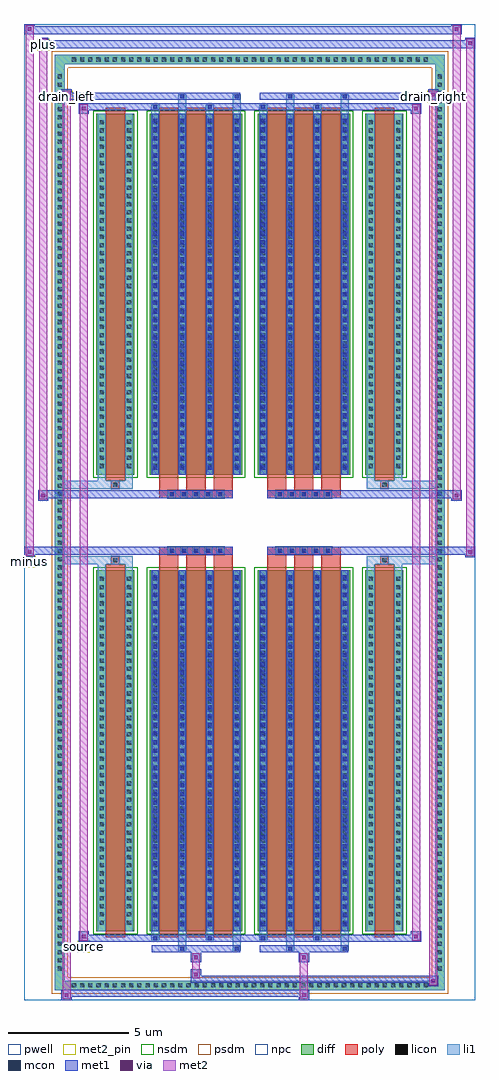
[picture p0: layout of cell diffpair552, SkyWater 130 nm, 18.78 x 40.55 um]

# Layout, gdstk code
import gdstk
lib = gdstk.Library(unit=1e-6, precision=5e-09)
def R(c, l, rs):  # rectangles x0, y0, x1, y1
    for r in rs: c.add(gdstk.rectangle(r[:2], r[2:], *l))
def A(c, l, x, y, w, h, nx, ny, dx, dy):  # array of equal rectangles
    R(c, l, [(x+i*dx, y+j*dy, x+i*dx+w, y+j*dy+h) for i in range(nx) for j in range(ny)])
def P(c, l, *ps):  # polygons
    for p in ps: c.add(gdstk.Polygon(p, *l))
pwell = (64, 44)
diff = (65, 20)
poly = (66, 20)
licon = (66, 44)
li1 = (67, 20)
mcon = (67, 44)
met1 = (68, 20)
via = (68, 44)
met2_pin = (69, 16)
met2 = (69, 20)
nsdm = (93, 44)
psdm = (94, 20)
npc = (95, 20)

diffpair552 = lib.new_cell('diffpair552')
R(diffpair552, pwell, [(-9.37,-19.84,9.37,20.71), (-6.69,-18.03,-0.01,-0.805), (0.01,-18.03,6.69,-0.805), (-6.69,0.805,-0.01,18.03), (0.01,0.805,6.69,18.03)])
A(diffpair552, diff, -7.515, -19.44, 0.41, 0.41, 44, 2, 0.34, 38.47)
A(diffpair552, diff, -8.1, -18.735, 0.41, 0.41, 1, 110, 0, 0.34)
A(diffpair552, diff, 7.69, -18.735, 0.41, 0.41, 1, 110, 0, 0.34)
R(diffpair552, diff, [(-7.515,-19.44,7.515,-19.03), (-8.1,-18.735,-7.69,18.735), (7.69,-18.735,8.1,18.735), (-6.38,-16.985,-4.8,-1.985), (-4.16,-16.985,-0.32,-1.985), (0.32,-16.985,4.16,-1.985), (4.8,-16.985,6.38,-1.985), (-6.38,1.985,-4.8,16.985), (-4.16,1.985,-0.32,16.985), (0.32,1.985,4.16,16.985), (4.8,1.985,6.38,16.985), (-7.515,19.03,7.515,19.44)])
P(diffpair552, diff, [(8.1,19.44),(-8.1,19.44),(-8.1,-19.03),(-7.69,-19.03),(-7.69,19.03),(7.69,19.03),(7.69,-19.03),(-7.69,-19.03),(-8.1,-19.03),(-8.1,-19.44),(8.1,-19.44)])
A(diffpair552, poly, -3.77, -17.235, 0.8, 15.5, 3, 2, 1.13, 18.97)
A(diffpair552, poly, 0.71, -17.235, 0.8, 15.5, 3, 2, 1.13, 18.97)
A(diffpair552, poly, -3.77, -1.735, 0.8, 0.4, 3, 2, 1.13, 3.07)
A(diffpair552, poly, 0.71, -1.735, 0.8, 0.4, 3, 2, 1.13, 3.07)
A(diffpair552, poly, -3.405, -1.335, 0.33, 0.33, 5, 2, 0.5, 2.34)
A(diffpair552, poly, 1.075, -1.335, 0.33, 0.33, 5, 2, 0.5, 2.34)
R(diffpair552, poly, [(-5.99,-17.235,-5.19,-1.735), (5.19,-17.235,5.99,-1.735), (-5.755,-1.735,-5.425,-1.405), (-5.755,-1.735,-5.425,-1.405), (5.425,-1.735,5.755,-1.405), (5.425,-1.735,5.755,-1.405), (-3.77,-1.335,-0.71,-1.005), (0.71,-1.335,3.77,-1.005), (-3.77,1.005,-0.71,1.335), (0.71,1.005,3.77,1.335), (-5.755,1.405,-5.425,1.735), (-5.755,1.405,-5.425,1.735), (5.425,1.405,5.755,1.735), (5.425,1.405,5.755,1.735), (-5.99,1.735,-5.19,17.235), (5.19,1.735,5.99,17.235)])
A(diffpair552, licon, -7.395, -19.32, 0.17, 0.17, 44, 2, 0.34, 38.47)
A(diffpair552, licon, -7.98, -18.615, 0.17, 0.17, 1, 110, 0, 0.34)
A(diffpair552, licon, 7.81, -18.615, 0.17, 0.17, 1, 110, 0, 0.34)
A(diffpair552, licon, -6.24, -16.71, 0.17, 0.17, 1, 43, 0, 0.34)
A(diffpair552, licon, -5.11, -16.71, 0.17, 0.17, 1, 43, 0, 0.34)
A(diffpair552, licon, -4.02, -16.71, 0.17, 0.17, 4, 43, 1.13, 0.34)
A(diffpair552, licon, 0.46, -16.71, 0.17, 0.17, 4, 43, 1.13, 0.34)
A(diffpair552, licon, 4.94, -16.71, 0.17, 0.17, 1, 43, 0, 0.34)
A(diffpair552, licon, 6.07, -16.71, 0.17, 0.17, 1, 43, 0, 0.34)
A(diffpair552, licon, -3.325, -1.255, 0.17, 0.17, 5, 2, 0.5, 2.34)
A(diffpair552, licon, 1.155, -1.255, 0.17, 0.17, 5, 2, 0.5, 2.34)
A(diffpair552, licon, -6.24, 2.26, 0.17, 0.17, 1, 43, 0, 0.34)
A(diffpair552, licon, -5.11, 2.26, 0.17, 0.17, 1, 43, 0, 0.34)
A(diffpair552, licon, -4.02, 2.26, 0.17, 0.17, 4, 43, 1.13, 0.34)
A(diffpair552, licon, 0.46, 2.26, 0.17, 0.17, 4, 43, 1.13, 0.34)
A(diffpair552, licon, 4.94, 2.26, 0.17, 0.17, 1, 43, 0, 0.34)
A(diffpair552, licon, 6.07, 2.26, 0.17, 0.17, 1, 43, 0, 0.34)
R(diffpair552, licon, [(-5.675,-1.655,-5.505,-1.485), (5.505,-1.655,5.675,-1.485), (-5.675,1.485,-5.505,1.655), (5.505,1.485,5.675,1.655)])
A(diffpair552, li1, -7.475, -19.4, 0.33, 0.33, 44, 2, 0.34, 38.47)
A(diffpair552, li1, -8.06, -18.695, 0.33, 0.33, 1, 110, 0, 0.34)
A(diffpair552, li1, 7.73, -18.695, 0.33, 0.33, 1, 110, 0, 0.34)
A(diffpair552, li1, -4.1, -16.985, 0.33, 15, 4, 2, 1.13, 18.97)
A(diffpair552, li1, 0.38, -16.985, 0.33, 15, 4, 2, 1.13, 18.97)
A(diffpair552, li1, -6.32, -16.79, 0.33, 0.33, 1, 43, 0, 0.34)
A(diffpair552, li1, -5.19, -16.79, 0.33, 0.33, 1, 43, 0, 0.34)
A(diffpair552, li1, -4.1, -16.79, 0.33, 0.33, 4, 43, 1.13, 0.34)
A(diffpair552, li1, 0.38, -16.79, 0.33, 0.33, 4, 43, 1.13, 0.34)
A(diffpair552, li1, 4.86, -16.79, 0.33, 0.33, 1, 43, 0, 0.34)
A(diffpair552, li1, 5.99, -16.79, 0.33, 0.33, 1, 43, 0, 0.34)
A(diffpair552, li1, -4.02, -16.77, 0.17, 0.17, 4, 41, 1.13, 0.36)
A(diffpair552, li1, -4.02, -16.77, 0.17, 14.57, 4, 2, 1.13, 18.97)
A(diffpair552, li1, 0.46, -16.77, 0.17, 0.17, 4, 41, 1.13, 0.36)
A(diffpair552, li1, 0.46, -16.77, 0.17, 14.57, 4, 2, 1.13, 18.97)
A(diffpair552, li1, -3.405, -1.335, 0.33, 0.33, 5, 2, 0.5, 2.34)
A(diffpair552, li1, 1.075, -1.335, 0.33, 0.33, 5, 2, 0.5, 2.34)
A(diffpair552, li1, -6.32, 2.18, 0.33, 0.33, 1, 43, 0, 0.34)
A(diffpair552, li1, -5.19, 2.18, 0.33, 0.33, 1, 43, 0, 0.34)
A(diffpair552, li1, -4.1, 2.18, 0.33, 0.33, 4, 43, 1.13, 0.34)
A(diffpair552, li1, 0.38, 2.18, 0.33, 0.33, 4, 43, 1.13, 0.34)
A(diffpair552, li1, 4.86, 2.18, 0.33, 0.33, 1, 43, 0, 0.34)
A(diffpair552, li1, 5.99, 2.18, 0.33, 0.33, 1, 43, 0, 0.34)
A(diffpair552, li1, -4.02, 2.2, 0.17, 0.17, 4, 41, 1.13, 0.36)
A(diffpair552, li1, 0.46, 2.2, 0.17, 0.17, 4, 41, 1.13, 0.36)
R(diffpair552, li1, [(-8.1,-19.44,-7.69,-19.03), (-8.1,-19.44,-7.69,-19.03), (-7.69,-19.44,7.69,-19.03), (7.69,-19.44,8.1,-19.03), (7.69,-19.44,8.1,-19.03), (-8.1,-19.03,-7.69,19.03), (7.69,-19.03,8.1,19.03), (-2.97,-17.79,-2.64,-16.985), (-2.89,-17.79,-2.72,-17.62), (-0.71,-17.79,-0.38,-16.985), (-0.63,-17.79,-0.46,-17.62), (1.51,-17.79,1.84,-16.985), (1.59,-17.79,1.76,-17.62), (3.77,-17.79,4.1,-16.985), (3.85,-17.79,4.02,-17.62), (-4.1,-17.36,-3.77,-16.985), (-4.02,-17.36,-3.85,-17.19), (-1.84,-17.36,-1.51,-16.985), (-1.76,-17.36,-1.59,-17.19), (0.38,-17.36,0.71,-16.985), (0.46,-17.36,0.63,-17.19), (2.64,-17.36,2.97,-16.985), (2.72,-17.36,2.89,-17.19), (-6.32,-16.985,-5.99,-1.985), (-5.19,-16.985,-4.86,-1.985), (4.86,-16.985,5.19,-1.985), (5.99,-16.985,6.32,-1.985), (-6.32,-1.985,-5.99,-1.405), (-5.19,-1.985,-4.86,-1.405), (4.86,-1.985,5.19,-1.405), (5.99,-1.985,6.32,-1.405), (-8.1,-1.735,-5.755,-1.405), (-6.32,-1.735,-5.755,-1.405), (-5.755,-1.735,-5.425,-1.405), (-5.425,-1.735,-4.86,-1.405), (4.86,-1.735,5.425,-1.405), (5.425,-1.735,5.755,-1.405), (5.425,-1.735,8.1,-1.405), (5.755,-1.735,6.32,-1.405), (-8.1,1.405,-5.755,1.735), (-6.32,1.405,-5.755,1.735), (-6.32,1.405,-5.99,1.985), (-5.755,1.405,-5.425,1.735), (-5.425,1.405,-4.86,1.735), (-5.19,1.405,-4.86,1.985), (4.86,1.405,5.425,1.735), (4.86,1.405,5.19,1.985), (5.425,1.405,5.755,1.735), (5.425,1.405,8.1,1.735), (5.755,1.405,6.32,1.735), (5.99,1.405,6.32,1.985), (-6.32,1.985,-5.99,16.985), (-5.19,1.985,-4.86,16.985), (4.86,1.985,5.19,16.985), (5.99,1.985,6.32,16.985), (-4.1,16.985,-3.77,17.36), (-2.97,16.985,-2.64,17.79), (-1.84,16.985,-1.51,17.36), (-0.71,16.985,-0.38,17.79), (0.38,16.985,0.71,17.36), (1.51,16.985,1.84,17.79), (2.64,16.985,2.97,17.36), (3.77,16.985,4.1,17.79), (-4.02,17.19,-3.85,17.36), (-1.76,17.19,-1.59,17.36), (0.46,17.19,0.63,17.36), (2.72,17.19,2.89,17.36), (-2.89,17.62,-2.72,17.79), (-0.63,17.62,-0.46,17.79), (1.59,17.62,1.76,17.79), (3.85,17.62,4.02,17.79), (-8.1,19.03,-7.69,19.44), (-8.1,19.03,-7.69,19.44), (-7.69,19.03,7.69,19.44), (7.69,19.03,8.1,19.44), (7.69,19.03,8.1,19.44)])
A(diffpair552, mcon, -4.02, -16.77, 0.17, 0.17, 4, 41, 1.13, 0.36)
A(diffpair552, mcon, 0.46, -16.77, 0.17, 0.17, 4, 41, 1.13, 0.36)
A(diffpair552, mcon, -3.325, -1.255, 0.17, 0.17, 5, 2, 0.5, 2.34)
A(diffpair552, mcon, 1.155, -1.255, 0.17, 0.17, 5, 2, 0.5, 2.34)
A(diffpair552, mcon, -4.02, 2.2, 0.17, 0.17, 4, 41, 1.13, 0.36)
A(diffpair552, mcon, 0.46, 2.2, 0.17, 0.17, 4, 41, 1.13, 0.36)
R(diffpair552, mcon, [(-2.89,-17.79,-2.72,-17.62), (-0.63,-17.79,-0.46,-17.62), (1.59,-17.79,1.76,-17.62), (3.85,-17.79,4.02,-17.62), (-4.02,-17.36,-3.85,-17.19), (-1.76,-17.36,-1.59,-17.19), (0.46,-17.36,0.63,-17.19), (2.72,-17.36,2.89,-17.19), (-4.02,17.19,-3.85,17.36), (-1.76,17.19,-1.59,17.36), (0.46,17.19,0.63,17.36), (2.72,17.19,2.89,17.36), (-2.89,17.62,-2.72,17.79), (-0.63,17.62,-0.46,17.79), (1.59,17.62,1.76,17.79), (3.85,17.62,4.02,17.79)])
A(diffpair552, met1, -4.08, -16.985, 0.29, 15, 4, 2, 1.13, 18.97)
A(diffpair552, met1, 0.4, -16.985, 0.29, 15, 4, 2, 1.13, 18.97)
A(diffpair552, met1, -4.08, -16.83, 0.29, 0.29, 4, 41, 1.13, 0.36)
A(diffpair552, met1, 0.4, -16.83, 0.29, 0.29, 4, 41, 1.13, 0.36)
A(diffpair552, met1, -3.385, -1.315, 0.29, 0.29, 5, 2, 0.5, 2.34)
A(diffpair552, met1, 1.095, -1.315, 0.29, 0.29, 5, 2, 0.5, 2.34)
A(diffpair552, met1, -4.08, 2.14, 0.29, 0.29, 4, 41, 1.13, 0.36)
A(diffpair552, met1, 0.4, 2.14, 0.29, 0.29, 4, 41, 1.13, 0.36)
R(diffpair552, met1, [(-7.83,-19.84,-7.4,-19.41), (2.025,-19.84,2.455,-19.41), (-7.83,-19.7,2.455,-19.41), (7.4,-19.27,7.83,-18.84), (-2.455,-19.13,7.83,-18.84), (-2.455,-18.99,-2.025,-18.56), (-2.455,-18.28,-2.025,-17.85), (2.025,-18.28,2.455,-17.85), (-4.08,-17.85,-0.4,-17.56), (-2.95,-17.85,-2.66,-17.56), (-0.69,-17.85,-0.4,-17.56), (0.4,-17.85,4.08,-17.56), (1.53,-17.85,1.82,-17.56), (3.79,-17.85,4.08,-17.56), (-7.12,-17.42,-6.69,-16.99), (-7.12,-17.42,-4.08,-17.13), (-4.08,-17.42,-3.79,-17.13), (-4.08,-17.42,-0.4,-17.13), (-1.82,-17.42,-1.53,-17.13), (-0.4,-17.42,0.4,-17.13), (0.4,-17.42,0.69,-17.13), (0.4,-17.42,4.08,-17.13), (2.66,-17.42,2.95,-17.13), (4.08,-17.42,7.12,-17.13), (6.69,-17.42,7.12,-16.99), (-9.37,-1.435,-8.94,-1.005), (8.94,-1.435,9.37,-1.005), (-9.37,-1.335,-0.71,-1.005), (-3.77,-1.335,-0.71,-1.005), (0.71,-1.335,3.77,-1.005), (0.71,-1.335,9.37,-1.005), (-8.8,0.905,-8.37,1.335), (8.37,0.905,8.8,1.335), (-8.8,1.005,-3.77,1.335), (-3.77,1.005,-0.71,1.335), (0.71,1.005,3.77,1.335), (3.77,1.005,8.8,1.335), (-7.12,16.99,-6.69,17.42), (6.69,16.99,7.12,17.42), (-7.12,17.13,-4.08,17.42), (-4.08,17.13,-3.79,17.42), (-4.08,17.13,-0.4,17.42), (-1.82,17.13,-1.53,17.42), (-0.4,17.13,0.4,17.42), (0.4,17.13,0.69,17.42), (0.4,17.13,4.08,17.42), (2.66,17.13,2.95,17.42), (4.08,17.13,7.12,17.42), (-7.83,17.56,-7.4,17.99), (-7.83,17.56,-4.08,17.85), (-4.08,17.56,-0.4,17.85), (-2.95,17.56,-2.66,17.85), (-0.69,17.56,-0.4,17.85), (0.4,17.56,4.08,17.85), (1.53,17.56,1.82,17.85), (3.79,17.56,4.08,17.85), (4.08,17.56,7.83,17.85), (7.4,17.56,7.83,17.99), (-8.8,19.71,-8.37,20.14), (-8.8,19.71,-6.69,20.04), (-6.69,19.71,6.69,20.04), (6.69,19.71,9.37,20.04), (8.94,19.71,9.37,20.14), (-9.37,20.28,-8.94,20.71), (-9.37,20.28,-6.69,20.61), (-6.69,20.28,6.69,20.61), (6.69,20.28,8.8,20.61), (8.37,20.28,8.8,20.71)])
R(diffpair552, via, [(-7.69,-19.7,-7.54,-19.55), (2.165,-19.7,2.315,-19.55), (7.54,-19.13,7.69,-18.98), (-2.315,-18.85,-2.165,-18.7), (-2.315,-18.14,-2.165,-17.99), (2.165,-18.14,2.315,-17.99), (-6.98,-17.28,-6.83,-17.13), (6.83,-17.28,6.98,-17.13), (-9.23,-1.295,-9.08,-1.145), (9.08,-1.295,9.23,-1.145), (-8.66,1.045,-8.51,1.195), (8.51,1.045,8.66,1.195), (-6.98,17.13,-6.83,17.28), (6.83,17.13,6.98,17.28), (-7.69,17.7,-7.54,17.85), (7.54,17.7,7.69,17.85), (-8.66,19.85,-8.51,20), (9.08,19.85,9.23,20), (-9.23,20.42,-9.08,20.57), (8.51,20.42,8.66,20.57)])
R(diffpair552, met2_pin, [(-7.155,-17.87,-6.655,-17.37), (-9.405,-1.885,-8.905,-1.385), (-7.865,17.44,-7.365,17.94), (7.365,17.44,7.865,17.94), (-8.835,19.59,-8.335,20.09)])
R(diffpair552, met2, [(-7.78,-19.79,-7.45,-19.46), (-7.78,-19.79,-7.45,17.94), (2.075,-19.79,2.405,-19.46), (2.075,-19.46,2.405,-18.23), (7.45,-19.22,7.78,-18.89), (7.45,-19.22,7.78,17.94), (-2.405,-18.94,-2.075,-18.61), (-2.405,-18.61,-2.075,-18.23), (-2.405,-18.23,-2.075,-17.9), (2.075,-18.23,2.405,-17.9), (-7.07,-17.37,-6.74,-17.04), (-7.07,-17.37,-6.74,17.37), (6.74,-17.37,7.07,-17.04), (6.74,-17.37,7.07,17.37), (-9.32,-1.385,-8.99,-1.055), (-9.32,-1.385,-8.99,20.66), (8.99,-1.385,9.32,-1.055), (8.99,-1.385,9.32,20.09), (-8.75,0.955,-8.42,1.285), (-8.75,0.955,-8.42,20.09), (8.42,0.955,8.75,1.285), (8.42,0.955,8.75,20.66), (-7.07,17.04,-6.74,17.37), (6.74,17.04,7.07,17.37), (-7.78,17.61,-7.45,17.94), (7.45,17.61,7.78,17.94), (-8.75,19.76,-8.42,20.09), (8.99,19.76,9.32,20.09), (-9.32,20.33,-8.99,20.66), (8.42,20.33,8.75,20.66)])
P(diffpair552, met2, [(9.32,-1.385),(9.32,-1.385),(9.32,-1.055),(9.32,-1.055)],
  [(9.32,19.76),(9.32,19.76),(9.32,20.09),(9.32,20.09)],
  [(-8.99,-1.385),(-8.99,-1.385),(-8.99,-1.055),(-8.99,-1.055)],
  [(-8.99,20.33),(-8.99,20.33),(-8.99,20.66),(-8.99,20.66)],
  [(8.75,0.955),(8.75,0.955),(8.75,1.285),(8.75,1.285)],
  [(8.75,20.33),(8.75,20.33),(8.75,20.66),(8.75,20.66)],
  [(-8.42,0.955),(-8.42,0.955),(-8.42,1.285),(-8.42,1.285)],
  [(-8.42,19.76),(-8.42,19.76),(-8.42,20.09),(-8.42,20.09)],
  [(-7.45,-19.79),(-7.45,-19.79),(-7.45,-19.46),(-7.45,-19.46)],
  [(-7.45,17.61),(-7.45,17.61),(-7.45,17.94),(-7.45,17.94)],
  [(7.78,-19.22),(7.78,-19.22),(7.78,-18.89),(7.78,-18.89)],
  [(7.78,17.61),(7.78,17.61),(7.78,17.94),(7.78,17.94)],
  [(-6.74,-17.37),(-6.74,-17.37),(-6.74,-17.04),(-6.74,-17.04)],
  [(-6.74,17.04),(-6.74,17.04),(-6.74,17.37),(-6.74,17.37)],
  [(7.07,-17.37),(7.07,-17.37),(7.07,-17.04),(7.07,-17.04)],
  [(7.07,17.04),(7.07,17.04),(7.07,17.37),(7.07,17.37)])
R(diffpair552, nsdm, [(-6.51,-17.115,-4.67,-1.855), (-4.29,-17.115,-0.19,-1.855), (0.19,-17.115,4.29,-1.855), (4.67,-17.115,6.51,-1.855), (-6.51,1.855,-4.67,17.115), (-4.29,1.855,-0.19,17.115), (0.19,1.855,4.29,17.115), (4.67,1.855,6.51,17.115)])
P(diffpair552, psdm, [(8.23,19.57),(-8.23,19.57),(-8.23,-18.9),(-7.56,-18.9),(-7.56,18.9),(7.56,18.9),(7.56,-18.9),(-7.56,-18.9),(-8.23,-18.9),(-8.23,-19.57),(8.23,-19.57)])
A(diffpair552, npc, -3.425, -1.355, 0.37, 0.37, 5, 2, 0.5, 2.34)
A(diffpair552, npc, 1.055, -1.355, 0.37, 0.37, 5, 2, 0.5, 2.34)
R(diffpair552, npc, [(-5.775,-1.755,-5.405,-1.385), (5.405,-1.755,5.775,-1.385), (-3.425,-1.355,-2.555,-0.985), (-3.425,-1.355,-2.555,-0.985), (-2.925,-1.355,-2.055,-0.985), (-2.925,-1.355,-2.055,-0.985), (-2.425,-1.355,-1.555,-0.985), (-2.425,-1.355,-1.555,-0.985), (-1.925,-1.355,-1.055,-0.985), (-1.925,-1.355,-1.055,-0.985), (1.055,-1.355,1.925,-0.985), (1.055,-1.355,1.925,-0.985), (1.555,-1.355,2.425,-0.985), (1.555,-1.355,2.425,-0.985), (2.055,-1.355,2.925,-0.985), (2.055,-1.355,2.925,-0.985), (2.555,-1.355,3.425,-0.985), (2.555,-1.355,3.425,-0.985), (-3.425,0.985,-2.555,1.355), (-3.425,0.985,-2.555,1.355), (-2.925,0.985,-2.055,1.355), (-2.925,0.985,-2.055,1.355), (-2.425,0.985,-1.555,1.355), (-2.425,0.985,-1.555,1.355), (-1.925,0.985,-1.055,1.355), (-1.925,0.985,-1.055,1.355), (1.055,0.985,1.925,1.355), (1.055,0.985,1.925,1.355), (1.555,0.985,2.425,1.355), (1.555,0.985,2.425,1.355), (2.055,0.985,2.925,1.355), (2.055,0.985,2.925,1.355), (2.555,0.985,3.425,1.355), (2.555,0.985,3.425,1.355), (-5.775,1.385,-5.405,1.755), (5.405,1.385,5.775,1.755)])
diffpair552.add(gdstk.Label('minus', (-9.155,-1.635), layer=69, texttype=5))
diffpair552.add(gdstk.Label('drain_right', (7.615,17.69), layer=69, texttype=5))
diffpair552.add(gdstk.Label('drain_left', (-7.615,17.69), layer=69, texttype=5))
diffpair552.add(gdstk.Label('source', (-6.905,-17.62), layer=69, texttype=5))
diffpair552.add(gdstk.Label('plus', (-8.585,19.84), layer=69, texttype=5))

lib.write_gds('diffpair552.gds')
